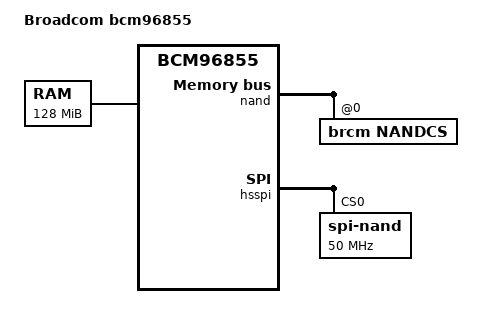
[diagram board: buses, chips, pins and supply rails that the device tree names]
// SPDX-License-Identifier: GPL-2.0+
/*
 * Copyright 2019 Broadcom Ltd.
 */


/dts-v1/;

#include "bcm6855.dtsi"

/ {
	model = "Broadcom bcm96855";
	compatible = "broadcom,bcm96855", "brcm,bcm96855";

	aliases {
		serial0 = &uart0;
	};

	chosen {
		stdout-path = "serial0:115200n8";
	};

	memory {
		device_type = "memory";
		reg = <0x0 0x08000000>;
	};
};

&nand {
	status = "okay";
	write-protect = <0>;
	#address-cells = <1>;
	#size-cells = <0>;

	nandcs@0 {
		compatible = "brcm,nandcs";
		reg = <0>;
	};
};

&hsspi {
	status = "okay";
	spi-nand {
		compatible = "spi-nand";
		reg = <0>;
		#address-cells = <1>;
		#size-cells = <0>;
		u-boot,dm-pre-reloc;				
		spi-max-frequency = <50000000>;
	};
};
